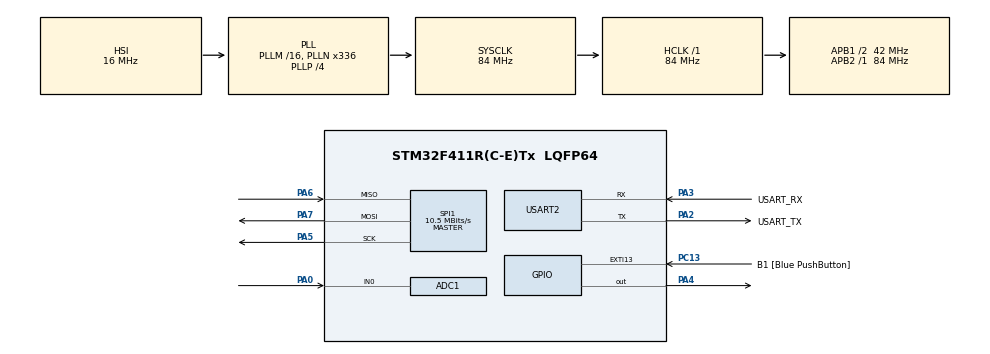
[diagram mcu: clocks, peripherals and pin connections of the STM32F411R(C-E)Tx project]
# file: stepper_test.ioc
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ADC1.Channel-0\#ChannelRegularConversion=ADC_CHANNEL_0
ADC1.NbrOfConversionFlag=1
ADC1.Rank-0\#ChannelRegularConversion=1
ADC1.SamplingTime-0\#ChannelRegularConversion=ADC_SAMPLETIME_3CYCLES
ADC1.master=1
Mcu.Family=STM32F4
Mcu.Name=STM32F411R(C-E)Tx
Mcu.Package=LQFP64
NVIC.PriorityGroup=NVIC_PRIORITYGROUP_0
PA0-WKUP.Signal=ADCx_IN0
PA13.GPIO_Label=TMS
PA13.Mode=Serial_Wire
PA13.Signal=SYS_JTMS-SWDIO
PA14.GPIO_Label=TCK
PA14.Mode=Serial_Wire
PA14.Signal=SYS_JTCK-SWCLK
PA2.GPIO_Label=USART_TX
PA2.Mode=Asynchronous
PA2.Signal=USART2_TX
PA3.GPIO_Label=USART_RX
PA3.Mode=Asynchronous
PA3.Signal=USART2_RX
PA4.GPIO_Speed=GPIO_SPEED_FREQ_HIGH
PA4.Signal=GPIO_Output
PA5.Mode=Full_Duplex_Master
PA5.Signal=SPI1_SCK
PA6.Mode=Full_Duplex_Master
PA6.Signal=SPI1_MISO
PA7.Mode=Full_Duplex_Master
PA7.Signal=SPI1_MOSI
PB3.GPIO_Label=SWO
PB3.Signal=SYS_JTDO-SWO
PC13-ANTI_TAMP.GPIO_Label=B1 [Blue PushButton]
PC13-ANTI_TAMP.GPIO_ModeDefaultEXTI=GPIO_MODE_IT_FALLING
PC13-ANTI_TAMP.Signal=GPXTI13
PC14-OSC32_IN.Mode=LSE-External-Oscillator
PC14-OSC32_IN.Signal=RCC_OSC32_IN
PC15-OSC32_OUT.Mode=LSE-External-Oscillator
PC15-OSC32_OUT.Signal=RCC_OSC32_OUT
PH0\ -\ OSC_IN.Mode=HSE-External-Clock-Source
PH0\ -\ OSC_IN.Signal=RCC_OSC_IN
PH1\ -\ OSC_OUT.Mode=HSE-External-Clock-Source
PH1\ -\ OSC_OUT.Signal=RCC_OSC_OUT
ProjectManager.HeapSize=0x200
ProjectManager.StackSize=0x400
ProjectManager.TargetToolchain=SW4STM32
RCC.48MHZClocksFreq_Value=84000000
RCC.AHBFreq_Value=84000000
RCC.APB1CLKDivider=RCC_HCLK_DIV2
RCC.APB1Freq_Value=42000000
RCC.APB1TimFreq_Value=84000000
RCC.APB2Freq_Value=84000000
RCC.APB2TimFreq_Value=84000000
RCC.CortexFreq_Value=84000000
RCC.FLatency-AdvancedSettings=FLASH_LATENCY_2
RCC.HCLKFreq_Value=84000000
RCC.HSE_VALUE=8000000
RCC.HSI_VALUE=16000000
RCC.PLLN=336
RCC.PLLP=RCC_PLLP_DIV4
RCC.SYSCLKFreq_VALUE=84000000
RCC.SYSCLKSource=RCC_SYSCLKSOURCE_PLLCLK
RCC.VCOOutputFreq_Value=336000000
SH.ADCx_IN0.0=ADC1_IN0,IN0
SPI1.BaudRatePrescaler=SPI_BAUDRATEPRESCALER_8
SPI1.CLKPhase=SPI_PHASE_2EDGE
SPI1.CLKPolarity=SPI_POLARITY_HIGH
SPI1.CalculateBaudRate=10.5 MBits/s
SPI1.Direction=SPI_DIRECTION_2LINES
SPI1.Mode=SPI_MODE_MASTER
SPI1.VirtualType=VM_MASTER
USART2.VirtualMode=VM_ASYNC
board=NUCLEO-F411RE

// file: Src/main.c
/**
  ******************************************************************************
  * @file           : main.c
  * @brief          : Main program body
  ******************************************************************************
  ** This notice applies to any and all portions of this file
  * that are not between comment pairs USER CODE BEGIN and
  * USER CODE END. Other portions of this file, whether
  * inserted by the user or by software development tools
  * are owned by their respective copyright owners.
  *
  * COPYRIGHT(c) 2018 STMicroelectronics
  *
  * Redistribution and use in source and binary forms, with or without modification,
  * are permitted provided that the following conditions are met:
  *   1. Redistributions of source code must retain the above copyright notice,
  *      this list of conditions and the following disclaimer.
  *   2. Redistributions in binary form must reproduce the above copyright notice,
  *      this list of conditions and the following disclaimer in the documentation
  *      and/or other materials provided with the distribution.
  *   3. Neither the name of STMicroelectronics nor the names of its contributors
  *      may be used to endorse or promote products derived from this software
  *      without specific prior written permission.
  *
  * THIS SOFTWARE IS PROVIDED BY THE COPYRIGHT HOLDERS AND CONTRIBUTORS "AS IS"
  * AND ANY EXPRESS OR IMPLIED WARRANTIES, INCLUDING, BUT NOT LIMITED TO, THE
  * IMPLIED WARRANTIES OF MERCHANTABILITY AND FITNESS FOR A PARTICULAR PURPOSE ARE
  * DISCLAIMED. IN NO EVENT SHALL THE COPYRIGHT HOLDER OR CONTRIBUTORS BE LIABLE
  * FOR ANY DIRECT, INDIRECT, INCIDENTAL, SPECIAL, EXEMPLARY, OR CONSEQUENTIAL
  * DAMAGES (INCLUDING, BUT NOT LIMITED TO, PROCUREMENT OF SUBSTITUTE GOODS OR
  * SERVICES; LOSS OF USE, DATA, OR PROFITS; OR BUSINESS INTERRUPTION) HOWEVER
  * CAUSED AND ON ANY THEORY OF LIABILITY, WHETHER IN CONTRACT, STRICT LIABILITY,
  * OR TORT (INCLUDING NEGLIGENCE OR OTHERWISE) ARISING IN ANY WAY OUT OF THE USE
  * OF THIS SOFTWARE, EVEN IF ADVISED OF THE POSSIBILITY OF SUCH DAMAGE.
  *
  ******************************************************************************
  */
#include "main.h"
#include "stm32f4xx_hal.h"

/* USER CODE BEGIN Includes */

#include "xnucleoihm02a1.h"
#define MPR_1     4			  //!< Motor Movements Per Revolution 1st option
#define MPR_2     8			  //!< Motor Movements Per Revolution 2nd option
#define DELAY_1   1000		//!< Delay time 1st option
#define DELAY_2   2500		//!< Delay time 2nd option
#define DELAY_3   10000   //!< Delay time 3rd option

/* USER CODE END Includes */

ADC_HandleTypeDef hadc1;

SPI_HandleTypeDef hspi1;

UART_HandleTypeDef huart2;

/* USER CODE BEGIN PV */
/* Private variables ---------------------------------------------------------*/
const MotorParameterData_t MotorParameterInitData[EXPBRD_MOUNTED_NR_MAX][L6470DAISYCHAINSIZE] = {
  {
    {9.0, 400, 1.7, 3.06, 300.0, 500.0, 500.0, 400.0, 0.0, 602.7, 3.06, 3.06,\
      3.06, 3.06, 61.52, 392.1569e-6, 643.1372e-6, 643.1372e-6, 0,\
        3.06*1000*1.10, 3.06*1000*1.00, MICROSTEP_1_128, 0xFF, 0x2E88},
    {9.0, 400, 1.7, 3.06, 300.0, 500.0, 500.0, 400.0, 0.0, 602.7, 3.06, 3.06,\
      3.06, 3.06, 61.52, 392.1569e-6, 643.1372e-6, 643.1372e-6, 0,\
        3.06*1000*1.10, 3.06*1000*1.00, MICROSTEP_1_128, 0xFF, 0x2E88},
  },
  {
    {9.0, 400, 1.7, 3.06, 300.0, 500.0, 500.0, 400.0, 0.0, 602.7, 3.06, 3.06,\
      3.06, 3.06, 61.52, 392.1569e-6, 643.1372e-6, 643.1372e-6, 0,\
        3.06*1000*1.10, 3.06*1000*1.00, MICROSTEP_1_128, 0xFF, 0x2E88},
    {9.0, 400, 1.7, 3.06, 300.0, 500.0, 500.0, 400.0, 0.0, 602.7, 3.06, 3.06,\
      3.06, 3.06, 61.52, 392.1569e-6, 643.1372e-6, 643.1372e-6, 0,\
        3.06*1000*1.10, 3.06*1000*1.00, MICROSTEP_1_128, 0xFF, 0x2E88},
  },
  {
    {9.0, 400, 1.7, 3.06, 300.0, 500.0, 500.0, 400.0, 0.0, 602.7, 3.06, 3.06,\
      3.06, 3.06, 61.52, 392.1569e-6, 643.1372e-6, 643.1372e-6, 0,\
        3.06*1000*1.10, 3.06*1000*1.00, MICROSTEP_1_128, 0xFF, 0x2E88},
    {9.0, 400, 1.7, 3.06, 300.0, 500.0, 500.0, 400.0, 0.0, 602.7, 3.06, 3.06,\
      3.06, 3.06, 61.52, 392.1569e-6, 643.1372e-6, 643.1372e-6, 0,\
        3.06*1000*1.10, 3.06*1000*1.00, MICROSTEP_1_128, 0xFF, 0x2E88},
  },
  {
    {9.0, 400, 1.7, 3.06, 300.0, 500.0, 500.0, 400.0, 0.0, 602.7, 3.06, 3.06,\
      3.06, 3.06, 61.52, 392.1569e-6, 643.1372e-6, 643.1372e-6, 0,\
        3.06*1000*1.10, 3.06*1000*1.00, MICROSTEP_1_128, 0xFF, 0x2E88},
    {9.0, 400, 1.7, 3.06, 300.0, 500.0, 500.0, 400.0, 0.0, 602.7, 3.06, 3.06,\
      3.06, 3.06, 61.52, 392.1569e-6, 643.1372e-6, 643.1372e-6, 0,\
        3.06*1000*1.10, 3.06*1000*1.00, MICROSTEP_1_128, 0xFF, 0x2E88},
  },
};

StepperMotorBoardHandle_t *StepperMotorBoardHandle;
MotorParameterData_t *MotorParameterDataGlobal, *MotorParameterDataSingle;
uint8_t board, device;
uint32_t Step;
uint32_t Speed;
uint8_t MovementPerRevolution;
uint8_t i;

uint8_t id;
/* USER CODE END PV */

void SystemClock_Config(void);
static void MX_GPIO_Init(void);
static void MX_USART2_UART_Init(void);
static void MX_ADC1_Init(void);
static void MX_SPI1_Init(void);

/* USER CODE BEGIN PFP */
/* Private function prototypes -----------------------------------------------*/

/* USER CODE END PFP */

int main(void)
{

  /* MCU Configuration----------------------------------------------------------*/

  /* Reset of all peripherals, Initializes the Flash interface and the Systick. */
  HAL_Init();

  /* Configure the system clock */
  SystemClock_Config();

  /* Initialize all configured peripherals */
  MX_GPIO_Init();
  MX_USART2_UART_Init();
  MX_ADC1_Init();
  MX_SPI1_Init();
  BSP_Init();
  /* USER CODE BEGIN 2 */
  MotorParameterDataGlobal = (MotorParameterData_t*)(MotorParameterInitData);

      for (id = 0; id < EXPBRD_MOUNTED_NR; id++)
      {
        StepperMotorBoardHandle = BSP_GetExpansionBoardHandle(EXPBRD_ID(id));
        MotorParameterDataSingle = MotorParameterDataGlobal+(id*L6470DAISYCHAINSIZE);
        StepperMotorBoardHandle->Config(MotorParameterDataSingle);
      }

      MovementPerRevolution = MPR_1;
        for (board = EXPBRD_ID(0); board <= EXPBRD_ID(EXPBRD_MOUNTED_NR-1); board++)
        {
          StepperMotorBoardHandle = BSP_GetExpansionBoardHandle(board);

          for (device = L6470_ID(0); device <= L6470_ID(L6470DAISYCHAINSIZE-1); device++)
          {
            /* Get the parameters for the motor connected with the actual stepper motor driver of the actual stepper motor expansion board */
            MotorParameterDataSingle = MotorParameterDataGlobal+((board*L6470DAISYCHAINSIZE)+device);
            Step = ((uint32_t)MotorParameterDataSingle->fullstepsperrevolution * pow(2, MotorParameterDataSingle->step_sel)) / MovementPerRevolution;

            for (i=0; i<MovementPerRevolution; i++)
            {
              StepperMotorBoardHandle->Command->Move(board, device, L6470_DIR_FWD_ID, Step);
              while(StepperMotorBoardHandle->Command->CheckStatusRegisterFlag(board, device, BUSY_ID) == 0);
              HAL_Delay(DELAY_1);
            }
          }
        }

        HAL_Delay(DELAY_2);

        for (board = EXPBRD_ID(0); board <= EXPBRD_ID(EXPBRD_MOUNTED_NR-1); board++)
        {

          for (device = L6470_ID(0); device <= L6470_ID(L6470DAISYCHAINSIZE-1); device++)
          {
            /* Get the parameters for the motor connected with the actual stepper motor driver of the actual stepper motor expansion board */
            MotorParameterDataSingle = MotorParameterDataGlobal+((board*L6470DAISYCHAINSIZE)+device);

            /* Set Speed */
            Speed = Step_s_2_Speed(MotorParameterDataSingle->speed);

            /* Prepare the stepper driver to be ready to perform a command */
            StepperMotorBoardHandle->StepperMotorDriverHandle[device]->Command->PrepareRun(device, L6470_DIR_FWD_ID, Speed);
          }

          StepperMotorBoardHandle->Command->PerformPreparedApplicationCommand();
        }

        HAL_Delay(DELAY_3);

        for (board = EXPBRD_ID(0); board <= EXPBRD_ID(EXPBRD_MOUNTED_NR-1); board++)
        {

          for (device = L6470_ID(0); device <= L6470_ID(L6470DAISYCHAINSIZE-1); device++)
          {
            /* Prepare the stepper driver to be ready to perform a command */
            StepperMotorBoardHandle->StepperMotorDriverHandle[device]->Command->PrepareHardStop(device);
          }

          StepperMotorBoardHandle->Command->PerformPreparedApplicationCommand();
        }
  /* USER CODE END 2 */

  /* Infinite loop */
  while (1)
  {

  }

}

void SystemClock_Config(void)
{

  RCC_OscInitTypeDef RCC_OscInitStruct;
  RCC_ClkInitTypeDef RCC_ClkInitStruct;

    /**Configure the main internal regulator output voltage
    */
  __HAL_RCC_PWR_CLK_ENABLE();

  __HAL_PWR_VOLTAGESCALING_CONFIG(PWR_REGULATOR_VOLTAGE_SCALE1);

    /**Initializes the CPU, AHB and APB busses clocks
    */
  RCC_OscInitStruct.OscillatorType = RCC_OSCILLATORTYPE_HSI;
  RCC_OscInitStruct.HSIState = RCC_HSI_ON;
  RCC_OscInitStruct.HSICalibrationValue = 16;
  RCC_OscInitStruct.PLL.PLLState = RCC_PLL_ON;
  RCC_OscInitStruct.PLL.PLLSource = RCC_PLLSOURCE_HSI;
  RCC_OscInitStruct.PLL.PLLM = 16;
  RCC_OscInitStruct.PLL.PLLN = 336;
  RCC_OscInitStruct.PLL.PLLP = RCC_PLLP_DIV4;
  RCC_OscInitStruct.PLL.PLLQ = 4;
  if (HAL_RCC_OscConfig(&RCC_OscInitStruct) != HAL_OK)
  {
    _Error_Handler(__FILE__, __LINE__);
  }

    /**Initializes the CPU, AHB and APB busses clocks
    */
  RCC_ClkInitStruct.ClockType = RCC_CLOCKTYPE_HCLK|RCC_CLOCKTYPE_SYSCLK
                              |RCC_CLOCKTYPE_PCLK1|RCC_CLOCKTYPE_PCLK2;
  RCC_ClkInitStruct.SYSCLKSource = RCC_SYSCLKSOURCE_PLLCLK;
  RCC_ClkInitStruct.AHBCLKDivider = RCC_SYSCLK_DIV1;
  RCC_ClkInitStruct.APB1CLKDivider = RCC_HCLK_DIV2;
  RCC_ClkInitStruct.APB2CLKDivider = RCC_HCLK_DIV1;

  if (HAL_RCC_ClockConfig(&RCC_ClkInitStruct, FLASH_LATENCY_2) != HAL_OK)
  {
    _Error_Handler(__FILE__, __LINE__);
  }

    /**Configure the Systick interrupt time
    */
  HAL_SYSTICK_Config(HAL_RCC_GetHCLKFreq()/1000);

    /**Configure the Systick
    */
  HAL_SYSTICK_CLKSourceConfig(SYSTICK_CLKSOURCE_HCLK);

  /* SysTick_IRQn interrupt configuration */
  HAL_NVIC_SetPriority(SysTick_IRQn, 0, 0);
}

/* ADC1 init function */
static void MX_ADC1_Init(void)
{

  ADC_ChannelConfTypeDef sConfig;

    /**Configure the global features of the ADC (Clock, Resolution, Data Alignment and number of conversion)
    */
  hadc1.Instance = ADC1;
  hadc1.Init.ClockPrescaler = ADC_CLOCK_SYNC_PCLK_DIV4;
  hadc1.Init.Resolution = ADC_RESOLUTION_12B;
  hadc1.Init.ScanConvMode = DISABLE;
  hadc1.Init.ContinuousConvMode = DISABLE;
  hadc1.Init.DiscontinuousConvMode = DISABLE;
  hadc1.Init.ExternalTrigConvEdge = ADC_EXTERNALTRIGCONVEDGE_NONE;
  hadc1.Init.ExternalTrigConv = ADC_SOFTWARE_START;
  hadc1.Init.DataAlign = ADC_DATAALIGN_RIGHT;
  hadc1.Init.NbrOfConversion = 1;
  hadc1.Init.DMAContinuousRequests = DISABLE;
  hadc1.Init.EOCSelection = ADC_EOC_SINGLE_CONV;
  if (HAL_ADC_Init(&hadc1) != HAL_OK)
  {
    _Error_Handler(__FILE__, __LINE__);
  }

    /**Configure for the selected ADC regular channel its corresponding rank in the sequencer and its sample time.
    */
  sConfig.Channel = ADC_CHANNEL_0;
  sConfig.Rank = 1;
  sConfig.SamplingTime = ADC_SAMPLETIME_3CYCLES;
  if (HAL_ADC_ConfigChannel(&hadc1, &sConfig) != HAL_OK)
  {
    _Error_Handler(__FILE__, __LINE__);
  }

}

/* SPI1 init function */
static void MX_SPI1_Init(void)
{

  /* SPI1 parameter configuration*/
  hspi1.Instance = SPI1;
  hspi1.Init.Mode = SPI_MODE_MASTER;
  hspi1.Init.Direction = SPI_DIRECTION_2LINES;
  hspi1.Init.DataSize = SPI_DATASIZE_8BIT;
  hspi1.Init.CLKPolarity = SPI_POLARITY_HIGH;
  hspi1.Init.CLKPhase = SPI_PHASE_2EDGE;
  hspi1.Init.NSS = SPI_NSS_SOFT;
  hspi1.Init.BaudRatePrescaler = SPI_BAUDRATEPRESCALER_8;
  hspi1.Init.FirstBit = SPI_FIRSTBIT_MSB;
  hspi1.Init.TIMode = SPI_TIMODE_DISABLE;
  hspi1.Init.CRCCalculation = SPI_CRCCALCULATION_DISABLE;
  hspi1.Init.CRCPolynomial = 10;
  if (HAL_SPI_Init(&hspi1) != HAL_OK)
  {
    _Error_Handler(__FILE__, __LINE__);
  }

}

/* USART2 init function */
static void MX_USART2_UART_Init(void)
{

  huart2.Instance = USART2;
  huart2.Init.BaudRate = 115200;
  huart2.Init.WordLength = UART_WORDLENGTH_8B;
  huart2.Init.StopBits = UART_STOPBITS_1;
  huart2.Init.Parity = UART_PARITY_NONE;
  huart2.Init.Mode = UART_MODE_TX_RX;
  huart2.Init.HwFlowCtl = UART_HWCONTROL_NONE;
  huart2.Init.OverSampling = UART_OVERSAMPLING_16;
  if (HAL_UART_Init(&huart2) != HAL_OK)
  {
    _Error_Handler(__FILE__, __LINE__);
  }

}

/** Configure pins as
        * Analog
        * Input
        * Output
        * EVENT_OUT
        * EXTI
*/
static void MX_GPIO_Init(void)
{

  GPIO_InitTypeDef GPIO_InitStruct;

  /* GPIO Ports Clock Enable */
  __HAL_RCC_GPIOC_CLK_ENABLE();
  __HAL_RCC_GPIOH_CLK_ENABLE();
  __HAL_RCC_GPIOA_CLK_ENABLE();
  __HAL_RCC_GPIOB_CLK_ENABLE();

  /*Configure GPIO pin Output Level */
  HAL_GPIO_WritePin(GPIOA, GPIO_PIN_4, GPIO_PIN_RESET);

  /*Configure GPIO pin : B1_Pin */
  GPIO_InitStruct.Pin = B1_Pin;
  GPIO_InitStruct.Mode = GPIO_MODE_IT_FALLING;
  GPIO_InitStruct.Pull = GPIO_NOPULL;
  HAL_GPIO_Init(B1_GPIO_Port, &GPIO_InitStruct);

  /*Configure GPIO pin : PA4 */
  GPIO_InitStruct.Pin = GPIO_PIN_4;
  GPIO_InitStruct.Mode = GPIO_MODE_OUTPUT_PP;
  GPIO_InitStruct.Pull = GPIO_NOPULL;
  GPIO_InitStruct.Speed = GPIO_SPEED_FREQ_HIGH;
  HAL_GPIO_Init(GPIOA, &GPIO_InitStruct);

}

void _Error_Handler(char *file, int line)
{
  while(1)
  {
  }
}

/************************ (C) COPYRIGHT STMicroelectronics *****END OF FILE****/
